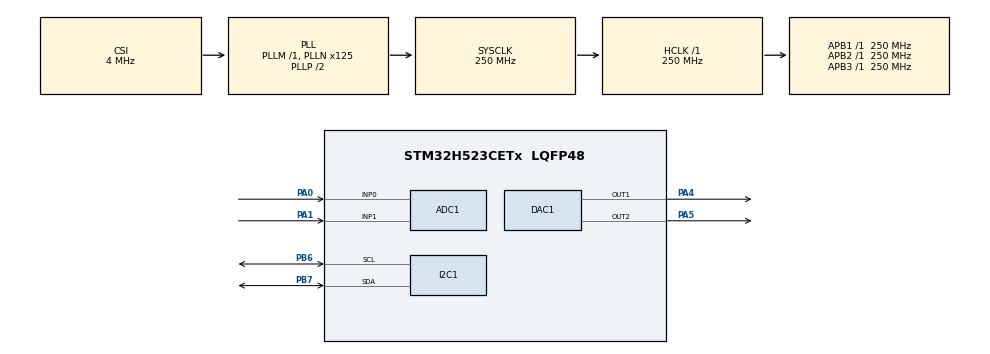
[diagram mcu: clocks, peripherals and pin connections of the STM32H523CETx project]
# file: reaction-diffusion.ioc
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ADC1.Channel-3\#ChannelRegularConversion=ADC_CHANNEL_1
ADC1.MonitoredBy-3\#ChannelRegularConversion=__NULL
ADC1.NbrOfConversionFlag=1
ADC1.OffsetNumber-3\#ChannelRegularConversion=ADC_OFFSET_NONE
ADC1.Rank-3\#ChannelRegularConversion=1
ADC1.SamplingTime-3\#ChannelRegularConversion=ADC_SAMPLETIME_2CYCLES_5
ADC1.master=1
BOOTPATH.BootPathName=LEGACY
BOOTPATH.UserSelectedBootPath=LEGACY
CORTEX_M33_NS.userName=CORTEX_M33
DAC1.DAC_Channel-DAC_OUT1_Ext=DAC_CHANNEL_1
DAC1.DAC_Channel-DAC_OUT2_Ext=DAC_CHANNEL_2
I2C1.Timing=0x60808CD3
Mcu.Family=STM32H5
Mcu.Name=STM32H523CETx
Mcu.Package=LQFP48
NVIC.PriorityGroup=NVIC_PRIORITYGROUP_4
PA0.Signal=SharedAnalog_PA0
PA1.Signal=ADCx_INP1
PA4.Signal=COMP_DAC11_group
PA5.Signal=COMP_DAC12_group
PB6.Mode=I2C
PB6.Signal=I2C1_SCL
PB7.Mode=I2C
PB7.Signal=I2C1_SDA
ProjectManager.HeapSize=0x200
ProjectManager.StackSize=0x400
ProjectManager.TargetToolchain=STM32CubeIDE
RCC.ADCFreq_Value=250000000
RCC.AHBFreq_Value=250000000
RCC.APB1Freq_Value=250000000
RCC.APB1TimFreq_Value=250000000
RCC.APB2Freq_Value=250000000
RCC.APB2TimFreq_Value=250000000
RCC.APB3Freq_Value=250000000
RCC.CSI_VALUE=4000000
RCC.CortexFreq_Value=250000000
RCC.DACLowPowerCLockSelection=RCC_DACLPCLKSOURCE_LSI
RCC.EPOD_VALUE=4000000
RCC.HCLKFreq_Value=250000000
RCC.HSE_VALUE=25000000
RCC.HSI48_VALUE=48000000
RCC.HSIDiv=RCC_HSI_DIV1
RCC.HSI_VALUE=64000000
RCC.LSE_VALUE=32768
RCC.LSIRC_VALUE=32000
RCC.PLLFRACN=0
RCC.PLLN=125
RCC.SYSCLKFreq_VALUE=250000000
RCC.SYSCLKSource=RCC_SYSCLKSOURCE_PLLCLK
RCC.USBFreq_Value=48000000
RCC.VCOOutputFreq_Value=500000000
SH.ADCx_INP1.0=ADC2_INP1
SH.ADCx_INP1.1=ADC1_INP1,IN1-Single-Ended
SH.COMP_DAC11_group.0=DAC1_OUT1,DAC_OUT1_Ext
SH.COMP_DAC12_group.0=DAC1_OUT2,DAC_OUT2_Ext
SH.SharedAnalog_PA0.0=ADC1_INN1
SH.SharedAnalog_PA0.1=ADC2_INP0
SH.SharedAnalog_PA0.2=ADC1_INP0,IN0-Single-Ended
VP_BOOTPATH_VS_BOOTPATH.Mode=BP_Activate
VP_CORTEX_M33_NS_VS_Hclk.Mode=Hclk_Mode
VP_MEMORYMAP_VS_MEMORYMAP.Mode=CurAppReg
VP_PWR_VS_LPOM.Mode=PowerOptimisation
VP_PWR_VS_SECSignals.Mode=Security/Privilege
board=custom

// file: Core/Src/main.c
/* USER CODE BEGIN Header */
/**
  ******************************************************************************
  * @file           : main.c
  * @brief          : Main program body
  ******************************************************************************
  * @attention
  *
  * Copyright (c) 2026 STMicroelectronics.
  * All rights reserved.
  *
  * This software is licensed under terms that can be found in the LICENSE file
  * in the root directory of this software component.
  * If no LICENSE file comes with this software, it is provided AS-IS.
  *
  ******************************************************************************
  */
/* USER CODE END Header */

#include "main.h"

/* USER CODE BEGIN Includes */
#include <math.h>
#include <stdlib.h>
#include <stdbool.h>
#include <stdint.h>
#include <stdio.h>
#include "rd_model.h"
#include "ssd1306.h"
#include "ssd1306_fonts.h"
/* USER CODE END Includes */

/* USER CODE BEGIN PD */
#define RD_GAIN_MV_PER_MV   (1200.0f)
#define RD_OFFSET_MV        (1700.0f)
#define VDDA_MV             (3300.0f)
#define DAC_BITS            (12)
#define DAC_MAX             ((1U << DAC_BITS) - 1U)
/* USER CODE END PD */

ADC_HandleTypeDef hadc1;
DAC_HandleTypeDef hdac1;
I2C_HandleTypeDef hi2c1;

/* USER CODE BEGIN PV */
static RDParams params;
static RDContext rdCtx;

static uint16_t *dacBuf = NULL;
static int dacLen = 0;
static int playIndex = 0;
static uint16_t refDacCode = 0;

static uint32_t last_sample_us = 0;

static int last_adc_sig = 0;
static int last_adc_ref = 0;
static int last_adc_diff = 0;

static uint32_t build_time_ms = 0;
/* USER CODE END PV */

void SystemClock_Config(void);
static void MX_GPIO_Init(void);
static void MX_ADC1_Init(void);
static void MX_DAC1_Init(void);
static void MX_I2C1_Init(void);

/* USER CODE BEGIN PFP */
static uint16_t rd_mv_to_dac(float mv);
static bool build_dac_block(void);
static uint16_t read_adc_channel(uint32_t channel);
static void oled_show_build_info(void);
static void oled_show_error(const char *msg);

static void dwt_delay_init(void);
static uint32_t micros_dwt(void);
static const char* rd_solver_name(void);
/* USER CODE END PFP */

/* USER CODE BEGIN 0 */

static void dwt_delay_init(void)
{
  CoreDebug->DEMCR |= CoreDebug_DEMCR_TRCENA_Msk;
  DWT->CTRL |= DWT_CTRL_CYCCNTENA_Msk;
  DWT->CYCCNT = 0;
}

static uint32_t micros_dwt(void)
{
  return (uint32_t)(DWT->CYCCNT / (SystemCoreClock / 1000000UL));
}

static const char* rd_solver_name(void)
{
#if defined(RD_SOLVER_RK4)
  return "RD RK4";
#elif defined(RD_SOLVER_TUSTIN)
  return "RD Tustin";
#else
  return "RD ?";
#endif
}

static uint16_t rd_mv_to_dac(float mv)
{
  float v_mv = RD_OFFSET_MV + RD_GAIN_MV_PER_MV * mv;

  if (v_mv < 0.0f) v_mv = 0.0f;
  if (v_mv > VDDA_MV) v_mv = VDDA_MV;

  int code = (int)lroundf((v_mv / VDDA_MV) * (float)DAC_MAX);
  if (code < 0) code = 0;
  if (code > (int)DAC_MAX) code = (int)DAC_MAX;
  return (uint16_t)code;
}

static bool build_dac_block(void)
{
  float *rdBlockMv = NULL;
  dacLen = 0;

  if (!build_rd_block_mv(&params, &rdBlockMv, &dacLen, &rdCtx)) {
    return false;
  }

  dacBuf = (uint16_t*)malloc((size_t)dacLen * sizeof(uint16_t));
  if (!dacBuf) {
    if (rdBlockMv) free(rdBlockMv);
    return false;
  }

  for (int i = 0; i < dacLen; i++) {
    dacBuf[i] = rd_mv_to_dac(rdBlockMv[i]);
  }

  free(rdBlockMv);
  return true;
}

static uint16_t read_adc_channel(uint32_t channel)
{
  ADC_ChannelConfTypeDef sConfig = {0};

  sConfig.Channel = channel;
  sConfig.Rank = ADC_REGULAR_RANK_1;
  sConfig.SamplingTime = ADC_SAMPLETIME_2CYCLES_5;
  sConfig.SingleDiff = ADC_SINGLE_ENDED;
  sConfig.OffsetNumber = ADC_OFFSET_NONE;
  sConfig.Offset = 0;

  if (HAL_ADC_ConfigChannel(&hadc1, &sConfig) != HAL_OK) {
    Error_Handler();
  }

  if (HAL_ADC_Start(&hadc1) != HAL_OK) {
    Error_Handler();
  }

  if (HAL_ADC_PollForConversion(&hadc1, 10) != HAL_OK) {
    Error_Handler();
  }

  uint16_t val = (uint16_t)HAL_ADC_GetValue(&hadc1);

  if (HAL_ADC_Stop(&hadc1) != HAL_OK) {
    Error_Handler();
  }

  return val;
}

static void oled_show_build_info(void)
{
  char line[32];
  uint32_t sysclk_mhz;
  uint32_t hclk_mhz;
  uint32_t pclk1_mhz;

  SystemCoreClockUpdate();
  sysclk_mhz = SystemCoreClock / 1000000UL;
  hclk_mhz   = HAL_RCC_GetHCLKFreq() / 1000000UL;
  pclk1_mhz  = HAL_RCC_GetPCLK1Freq() / 1000000UL;

  ssd1306_Fill(Black);

  ssd1306_SetCursor(0, 0);
  snprintf(line, sizeof(line), "SYS:%3lu H:%3lu",
           (unsigned long)sysclk_mhz,
           (unsigned long)hclk_mhz);
  ssd1306_WriteString(line, Font_7x10, White);

  ssd1306_SetCursor(0, 16);
  snprintf(line, sizeof(line), "P1:%3lu B:%4lu",
           (unsigned long)pclk1_mhz,
           (unsigned long)build_time_ms);
  ssd1306_WriteString(line, Font_7x10, White);

  ssd1306_SetCursor(0, 32);
  snprintf(line, sizeof(line), "Len:%d", dacLen);
  ssd1306_WriteString(line, Font_7x10, White);

  ssd1306_SetCursor(0, 48);
  snprintf(line, sizeof(line), "%s", rd_solver_name());
  ssd1306_WriteString(line, Font_7x10, White);

  ssd1306_UpdateScreen();
}

static void oled_show_error(const char *msg)
{
  ssd1306_Fill(Black);
  ssd1306_SetCursor(0, 0);
  ssd1306_WriteString("ERROR", Font_7x10, White);
  ssd1306_SetCursor(0, 16);
  ssd1306_WriteString((char*)msg, Font_7x10, White);
  ssd1306_UpdateScreen();
}

/* USER CODE END 0 */

int main(void)
{
  /* USER CODE BEGIN 1 */
  char line[32];
  /* USER CODE END 1 */

  /* MCU Configuration--------------------------------------------------------*/
  HAL_Init();

  /* Configure the system clock */
  SystemClock_Config();

  /* Initialize all configured peripherals */
  MX_GPIO_Init();
  MX_ADC1_Init();
  MX_DAC1_Init();
  MX_I2C1_Init();

  /* USER CODE BEGIN 2 */
  HAL_Delay(100);
  SystemCoreClockUpdate();
  dwt_delay_init();
  ssd1306_Init();

  ssd1306_Fill(Black);
  ssd1306_SetCursor(0, 0);
  snprintf(line, sizeof(line), "Building %s...", rd_solver_name());
  ssd1306_WriteString(line, Font_7x10, White);
  ssd1306_UpdateScreen();

  rd_init_default_params(&params);

  if (!rd_init(&params, &rdCtx)) {
    oled_show_error("RD init fail");
    Error_Handler();
  }

  uint32_t t0 = HAL_GetTick();
  if (!build_dac_block()) {
    oled_show_error("Build failed");
    Error_Handler();
  }
  build_time_ms = HAL_GetTick() - t0;

  oled_show_build_info();

  if (HAL_DAC_Start(&hdac1, DAC_CHANNEL_1) != HAL_OK) {
    oled_show_error("DAC1 CH1 fail");
    Error_Handler();
  }

  if (HAL_DAC_Start(&hdac1, DAC_CHANNEL_2) != HAL_OK) {
    oled_show_error("DAC1 CH2 fail");
    Error_Handler();
  }

  refDacCode = rd_mv_to_dac(0.0f);

  /* DAC1 CH1 = PA4 = reference */
  if (HAL_DAC_SetValue(&hdac1, DAC_CHANNEL_1, DAC_ALIGN_12B_R, refDacCode) != HAL_OK) {
    oled_show_error("Set DAC ref fail");
    Error_Handler();
  }

  /* DAC1 CH2 = PA5 = signal */
  if (HAL_DAC_SetValue(&hdac1, DAC_CHANNEL_2, DAC_ALIGN_12B_R, dacBuf[0]) != HAL_OK) {
    oled_show_error("Set DAC sig fail");
    Error_Handler();
  }

  last_sample_us = micros_dwt();
  /* USER CODE END 2 */

  /* Infinite loop */
  /* USER CODE BEGIN WHILE */
  const uint32_t period_us = (uint32_t)lroundf(1000000.0f / params.ecg_fs);

  while (1)
  {
    if ((uint32_t)(micros_dwt() - last_sample_us) >= period_us)
    {
      last_sample_us += period_us;

      if (HAL_DAC_SetValue(&hdac1, DAC_CHANNEL_2, DAC_ALIGN_12B_R, dacBuf[playIndex]) != HAL_OK) {
        oled_show_error("DAC update fail");
        Error_Handler();
      }

      for (volatile int k = 0; k < 200; k++) { __NOP(); }

      last_adc_sig  = (int)read_adc_channel(ADC_CHANNEL_1); /* PA0 / ADC1_INP1 */
      last_adc_ref  = (int)read_adc_channel(ADC_CHANNEL_2); /* PA1 / ADC1_INP2 */
      last_adc_diff = last_adc_sig - last_adc_ref;

      playIndex++;
      if (playIndex >= dacLen) {
        playIndex = 0;
      }
    }
  }
  /* USER CODE END WHILE */
}

void SystemClock_Config(void)
{
  RCC_OscInitTypeDef RCC_OscInitStruct = {0};
  RCC_ClkInitTypeDef RCC_ClkInitStruct = {0};

  __HAL_PWR_VOLTAGESCALING_CONFIG(PWR_REGULATOR_VOLTAGE_SCALE0);
  while(!__HAL_PWR_GET_FLAG(PWR_FLAG_VOSRDY)) {}

  RCC_OscInitStruct.OscillatorType = RCC_OSCILLATORTYPE_LSI|RCC_OSCILLATORTYPE_CSI;
  RCC_OscInitStruct.LSIState = RCC_LSI_ON;
  RCC_OscInitStruct.CSIState = RCC_CSI_ON;
  RCC_OscInitStruct.CSICalibrationValue = RCC_CSICALIBRATION_DEFAULT;
  RCC_OscInitStruct.PLL.PLLState = RCC_PLL_ON;
  RCC_OscInitStruct.PLL.PLLSource = RCC_PLL1_SOURCE_CSI;
  RCC_OscInitStruct.PLL.PLLM = 1;
  RCC_OscInitStruct.PLL.PLLN = 125;
  RCC_OscInitStruct.PLL.PLLP = 2;
  RCC_OscInitStruct.PLL.PLLQ = 2;
  RCC_OscInitStruct.PLL.PLLR = 2;
  RCC_OscInitStruct.PLL.PLLRGE = RCC_PLL1_VCIRANGE_2;
  RCC_OscInitStruct.PLL.PLLVCOSEL = RCC_PLL1_VCORANGE_WIDE;
  RCC_OscInitStruct.PLL.PLLFRACN = 0;
  if (HAL_RCC_OscConfig(&RCC_OscInitStruct) != HAL_OK)
  {
    Error_Handler();
  }

  RCC_ClkInitStruct.ClockType = RCC_CLOCKTYPE_HCLK|RCC_CLOCKTYPE_SYSCLK
                              |RCC_CLOCKTYPE_PCLK1|RCC_CLOCKTYPE_PCLK2
                              |RCC_CLOCKTYPE_PCLK3;
  RCC_ClkInitStruct.SYSCLKSource = RCC_SYSCLKSOURCE_PLLCLK;
  RCC_ClkInitStruct.AHBCLKDivider = RCC_SYSCLK_DIV1;
  RCC_ClkInitStruct.APB1CLKDivider = RCC_HCLK_DIV1;
  RCC_ClkInitStruct.APB2CLKDivider = RCC_HCLK_DIV1;
  RCC_ClkInitStruct.APB3CLKDivider = RCC_HCLK_DIV1;

  if (HAL_RCC_ClockConfig(&RCC_ClkInitStruct, FLASH_LATENCY_5) != HAL_OK)
  {
    Error_Handler();
  }

  __HAL_FLASH_SET_PROGRAM_DELAY(FLASH_PROGRAMMING_DELAY_2);
}

/* USER CODE BEGIN 4 */
static void MX_ADC1_Init(void)
{
  ADC_ChannelConfTypeDef sConfig = {0};

  hadc1.Instance = ADC1;
  hadc1.Init.ClockPrescaler = ADC_CLOCK_ASYNC_DIV1;
  hadc1.Init.Resolution = ADC_RESOLUTION_12B;
  hadc1.Init.DataAlign = ADC_DATAALIGN_RIGHT;
  hadc1.Init.ScanConvMode = ADC_SCAN_DISABLE;
  hadc1.Init.EOCSelection = ADC_EOC_SINGLE_CONV;
  hadc1.Init.LowPowerAutoWait = DISABLE;
  hadc1.Init.ContinuousConvMode = DISABLE;
  hadc1.Init.NbrOfConversion = 1;
  hadc1.Init.DiscontinuousConvMode = DISABLE;
  hadc1.Init.ExternalTrigConv = ADC_SOFTWARE_START;
  hadc1.Init.ExternalTrigConvEdge = ADC_EXTERNALTRIGCONVEDGE_NONE;
  hadc1.Init.DMAContinuousRequests = DISABLE;
  hadc1.Init.SamplingMode = ADC_SAMPLING_MODE_NORMAL;
  hadc1.Init.Overrun = ADC_OVR_DATA_PRESERVED;
  hadc1.Init.OversamplingMode = DISABLE;
  if (HAL_ADC_Init(&hadc1) != HAL_OK)
  {
    Error_Handler();
  }

  sConfig.Channel = ADC_CHANNEL_1;
  sConfig.Rank = ADC_REGULAR_RANK_1;
  sConfig.SamplingTime = ADC_SAMPLETIME_2CYCLES_5;
  sConfig.SingleDiff = ADC_SINGLE_ENDED;
  sConfig.OffsetNumber = ADC_OFFSET_NONE;
  sConfig.Offset = 0;
  if (HAL_ADC_ConfigChannel(&hadc1, &sConfig) != HAL_OK)
  {
    Error_Handler();
  }
}

static void MX_DAC1_Init(void)
{
  DAC_ChannelConfTypeDef sConfig = {0};

  hdac1.Instance = DAC1;
  if (HAL_DAC_Init(&hdac1) != HAL_OK)
  {
    Error_Handler();
  }

  sConfig.DAC_HighFrequency = DAC_HIGH_FREQUENCY_INTERFACE_MODE_DISABLE;
  sConfig.DAC_DMADoubleDataMode = DISABLE;
  sConfig.DAC_SignedFormat = DISABLE;
  sConfig.DAC_SampleAndHold = DAC_SAMPLEANDHOLD_DISABLE;
  sConfig.DAC_Trigger = DAC_TRIGGER_NONE;
  sConfig.DAC_OutputBuffer = DAC_OUTPUTBUFFER_ENABLE;
  sConfig.DAC_ConnectOnChipPeripheral = DAC_CHIPCONNECT_EXTERNAL;
  sConfig.DAC_UserTrimming = DAC_TRIMMING_FACTORY;
  if (HAL_DAC_ConfigChannel(&hdac1, &sConfig, DAC_CHANNEL_1) != HAL_OK)
  {
    Error_Handler();
  }

  if (HAL_DAC_ConfigChannel(&hdac1, &sConfig, DAC_CHANNEL_2) != HAL_OK)
  {
    Error_Handler();
  }
}

static void MX_I2C1_Init(void)
{
  hi2c1.Instance = I2C1;
  hi2c1.Init.Timing = 0x00707CBB;
  hi2c1.Init.OwnAddress1 = 0;
  hi2c1.Init.AddressingMode = I2C_ADDRESSINGMODE_7BIT;
  hi2c1.Init.DualAddressMode = I2C_DUALADDRESS_DISABLE;
  hi2c1.Init.OwnAddress2 = 0;
  hi2c1.Init.OwnAddress2Masks = I2C_OA2_NOMASK;
  hi2c1.Init.GeneralCallMode = I2C_GENERALCALL_DISABLE;
  hi2c1.Init.NoStretchMode = I2C_NOSTRETCH_DISABLE;
  if (HAL_I2C_Init(&hi2c1) != HAL_OK)
  {
    Error_Handler();
  }

  if (HAL_I2CEx_ConfigAnalogFilter(&hi2c1, I2C_ANALOGFILTER_ENABLE) != HAL_OK)
  {
    Error_Handler();
  }

  if (HAL_I2CEx_ConfigDigitalFilter(&hi2c1, 0) != HAL_OK)
  {
    Error_Handler();
  }
}

static void MX_GPIO_Init(void)
{
  GPIO_InitTypeDef GPIO_InitStruct = {0};

  __HAL_RCC_GPIOA_CLK_ENABLE();
  __HAL_RCC_GPIOB_CLK_ENABLE();

  GPIO_InitStruct.Pin = GPIO_PIN_0 | GPIO_PIN_1;
  GPIO_InitStruct.Mode = GPIO_MODE_ANALOG;
  GPIO_InitStruct.Pull = GPIO_NOPULL;
  HAL_GPIO_Init(GPIOA, &GPIO_InitStruct);
}
/* USER CODE END 4 */

void Error_Handler(void)
{
  __disable_irq();
  while (1)
  {
  }
}
